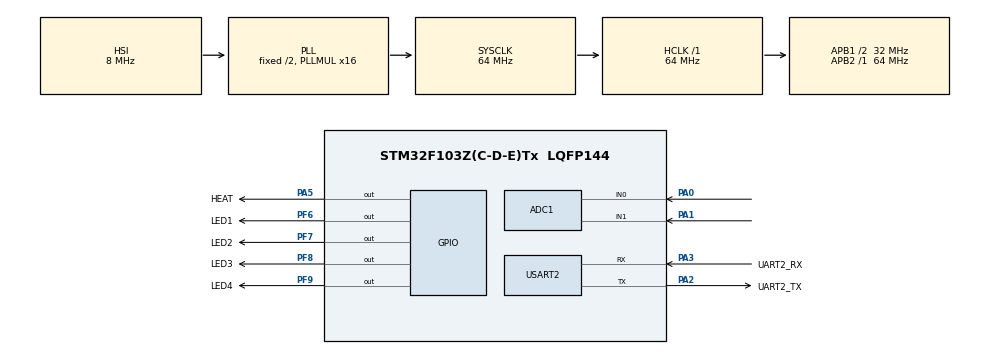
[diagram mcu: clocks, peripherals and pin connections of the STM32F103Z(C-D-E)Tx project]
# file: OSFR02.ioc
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ADC1.Channel-11\#ChannelRegularConversion=ADC_CHANNEL_0
ADC1.Channel-12\#ChannelRegularConversion=ADC_CHANNEL_1
ADC1.Channel-13\#ChannelRegularConversion=ADC_CHANNEL_TEMPSENSOR
ADC1.Channel-14\#ChannelRegularConversion=ADC_CHANNEL_VREFINT
ADC1.NbrOfConversion=4
ADC1.NbrOfConversionFlag=1
ADC1.Rank-11\#ChannelRegularConversion=1
ADC1.Rank-12\#ChannelRegularConversion=2
ADC1.Rank-13\#ChannelRegularConversion=3
ADC1.Rank-14\#ChannelRegularConversion=4
ADC1.SamplingTime-11\#ChannelRegularConversion=ADC_SAMPLETIME_28CYCLES_5
ADC1.SamplingTime-12\#ChannelRegularConversion=ADC_SAMPLETIME_28CYCLES_5
ADC1.SamplingTime-13\#ChannelRegularConversion=ADC_SAMPLETIME_41CYCLES_5
ADC1.SamplingTime-14\#ChannelRegularConversion=ADC_SAMPLETIME_41CYCLES_5
ADC1.master=1
Dma.ADC1.0.Direction=DMA_PERIPH_TO_MEMORY
Dma.ADC1.0.Instance=DMA1_Channel1
Dma.ADC1.0.MemDataAlignment=DMA_MDATAALIGN_HALFWORD
Dma.ADC1.0.MemInc=DMA_MINC_ENABLE
Dma.ADC1.0.Mode=DMA_CIRCULAR
Dma.ADC1.0.PeriphDataAlignment=DMA_PDATAALIGN_HALFWORD
Dma.ADC1.0.PeriphInc=DMA_PINC_DISABLE
Dma.ADC1.0.Priority=DMA_PRIORITY_LOW
Dma.Request0=ADC1
FREERTOS.Tasks01=led1Task,0,128,vLed1Task,As weak,NULL,Dynamic,NULL,NULL;led2Task,0,128,vLed2Task,Default,NULL,Dynamic,NULL,NULL;led3Task,0,128,vLed3Task,Default,NULL,Dynamic,NULL,NULL;led4Task,0,128,vLed4Task,Default,NULL,Dynamic,NULL,NULL;printfTask,0,128,vPrintfTask,Default,NULL,Dynamic,NULL,NULL;sensor1Task,1,128,vSensor1Task,Default,NULL,Dynamic,NULL,NULL
FREERTOS.configTOTAL_HEAP_SIZE=10240
FREERTOS.configUSE_TRACE_FACILITY=1
Mcu.Family=STM32F1
Mcu.Name=STM32F103Z(C-D-E)Tx
Mcu.Package=LQFP144
NVIC.DMA1_Channel1_IRQn=true\:5\:0\:false\:false\:true\:true
NVIC.PriorityGroup=NVIC_PRIORITYGROUP_4
NVIC.TIM6_IRQn=true\:0\:0\:false\:false\:true\:false
NVIC.TimeBase=TIM6_IRQn
NVIC.TimeBaseIP=TIM6
PA0-WKUP.Signal=ADCx_IN0
PA1.Signal=ADCx_IN1
PA13.Mode=Trace_Asynchronous_SW
PA13.Signal=SYS_JTMS-SWDIO
PA14.Mode=Trace_Asynchronous_SW
PA14.Signal=SYS_JTCK-SWCLK
PA2.GPIO_Label=UART2_TX
PA2.Mode=Asynchronous
PA2.Signal=USART2_TX
PA3.GPIO_Label=UART2_RX
PA3.Mode=Asynchronous
PA3.Signal=USART2_RX
PA5.GPIO_Label=HEAT
PA5.Signal=GPIO_Output
PB3.Mode=Trace_Asynchronous_SW
PB3.Signal=SYS_JTDO-TRACESWO
PF6.GPIO_Label=LED1
PF6.Signal=GPIO_Output
PF7.GPIO_Label=LED2
PF7.Signal=GPIO_Output
PF8.GPIO_Label=LED3
PF8.Signal=GPIO_Output
PF9.GPIO_Label=LED4
PF9.Signal=GPIO_Output
ProjectManager.HeapSize=0x200
ProjectManager.StackSize=0x400
ProjectManager.TargetToolchain=MDK-ARM V5
RCC.ADCPresc=RCC_ADCPCLK2_DIV6
RCC.AHBFreq_Value=64000000
RCC.APB1CLKDivider=RCC_HCLK_DIV2
RCC.APB1Freq_Value=32000000
RCC.APB1TimFreq_Value=64000000
RCC.APB2Freq_Value=64000000
RCC.APB2TimFreq_Value=64000000
RCC.HCLKFreq_Value=64000000
RCC.PLLMUL=RCC_PLL_MUL16
RCC.SYSCLKFreq_VALUE=64000000
RCC.SYSCLKSource=RCC_SYSCLKSOURCE_PLLCLK
RCC.USBFreq_Value=64000000
SH.ADCx_IN0.0=ADC1_IN0,IN0
SH.ADCx_IN1.0=ADC1_IN1,IN1
USART2.VirtualMode=VM_ASYNC
VP_ADC1_TempSens_Input.Mode=IN-TempSens
VP_ADC1_Vref_Input.Mode=IN-Vrefint
VP_FREERTOS_VS_ENABLE.Mode=Enabled
VP_SYS_VS_tim6.Mode=TIM6
board=OSFR02

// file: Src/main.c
/**
  ******************************************************************************
  * File Name          : main.c
  * Description        : Main program body
  ******************************************************************************
  * This notice applies to any and all portions of this file
  * that are not between comment pairs USER CODE BEGIN and
  * USER CODE END. Other portions of this file, whether
  * inserted by the user or by software development tools
  * are owned by their respective copyright owners.
  *
  * Copyright (c) 2017 STMicroelectronics International N.V.
  * All rights reserved.
  *
  * Redistribution and use in source and binary forms, with or without
  * modification, are permitted, provided that the following conditions are met:
  *
  * 1. Redistribution of source code must retain the above copyright notice,
  *    this list of conditions and the following disclaimer.
  * 2. Redistributions in binary form must reproduce the above copyright notice,
  *    this list of conditions and the following disclaimer in the documentation
  *    and/or other materials provided with the distribution.
  * 3. Neither the name of STMicroelectronics nor the names of other
  *    contributors to this software may be used to endorse or promote products
  *    derived from this software without specific written permission.
  * 4. This software, including modifications and/or derivative works of this
  *    software, must execute solely and exclusively on microcontroller or
  *    microprocessor devices manufactured by or for STMicroelectronics.
  * 5. Redistribution and use of this software other than as permitted under
  *    this license is void and will automatically terminate your rights under
  *    this license.
  *
  * THIS SOFTWARE IS PROVIDED BY STMICROELECTRONICS AND CONTRIBUTORS "AS IS"
  * AND ANY EXPRESS, IMPLIED OR STATUTORY WARRANTIES, INCLUDING, BUT NOT
  * LIMITED TO, THE IMPLIED WARRANTIES OF MERCHANTABILITY, FITNESS FOR A
  * PARTICULAR PURPOSE AND NON-INFRINGEMENT OF THIRD PARTY INTELLECTUAL PROPERTY
  * RIGHTS ARE DISCLAIMED TO THE FULLEST EXTENT PERMITTED BY LAW. IN NO EVENT
  * SHALL STMICROELECTRONICS OR CONTRIBUTORS BE LIABLE FOR ANY DIRECT, INDIRECT,
  * INCIDENTAL, SPECIAL, EXEMPLARY, OR CONSEQUENTIAL DAMAGES (INCLUDING, BUT NOT
  * LIMITED TO, PROCUREMENT OF SUBSTITUTE GOODS OR SERVICES; LOSS OF USE, DATA,
  * OR PROFITS; OR BUSINESS INTERRUPTION) HOWEVER CAUSED AND ON ANY THEORY OF
  * LIABILITY, WHETHER IN CONTRACT, STRICT LIABILITY, OR TORT (INCLUDING
  * NEGLIGENCE OR OTHERWISE) ARISING IN ANY WAY OUT OF THE USE OF THIS SOFTWARE,
  * EVEN IF ADVISED OF THE POSSIBILITY OF SUCH DAMAGE.
  *
  ******************************************************************************
  */
#include "main.h"
#include "stm32f1xx_hal.h"
#include "cmsis_os.h"
#include "adc.h"
#include "dma.h"
#include "usart.h"
#include "gpio.h"

/* USER CODE BEGIN PV */
/* Private variables ---------------------------------------------------------*/

/* USER CODE END PV */

void SystemClock_Config(void);
void MX_FREERTOS_Init(void);

/* USER CODE BEGIN PFP */
/* Private function prototypes -----------------------------------------------*/

/* USER CODE END PFP */

/* USER CODE BEGIN 0 */
  char character[10];
/* USER CODE END 0 */

int main(void)
{

  /* MCU Configuration----------------------------------------------------------*/

  /* Reset of all peripherals, Initializes the Flash interface and the Systick. */
  HAL_Init();

  /* Configure the system clock */
  SystemClock_Config();

  /* Initialize all configured peripherals */
  MX_GPIO_Init();
  MX_DMA_Init();
  MX_USART2_UART_Init();
  MX_ADC1_Init();

  /* USER CODE BEGIN 2 */
//  setvbuf(stdin, NULL, _IONBF, 0);
//  char c =getchar();
 // printf("I get:%c",c );
 // printf("Hello world!\n");
  /* Init only, trace starts later...*/
 // vTraceEnable(TRC_INIT);
  vTraceEnable(TRC_START_AWAIT_HOST);

  /* In a task or ISR */
 // vTraceEnable(TRC_START);

//void vTraceStop(void)

  /* USER CODE END 2 */

  /* Call init function for freertos objects (in freertos.c) */
  MX_FREERTOS_Init();

  /* Start scheduler */
  osKernelStart();

  /* We should never get here as control is now taken by the scheduler */

  /* Infinite loop */
  while (1)
  {

  }

}

/** System Clock Configuration
*/
void SystemClock_Config(void)
{

  RCC_OscInitTypeDef RCC_OscInitStruct;
  RCC_ClkInitTypeDef RCC_ClkInitStruct;
  RCC_PeriphCLKInitTypeDef PeriphClkInit;

    /**Initializes the CPU, AHB and APB busses clocks
    */
  RCC_OscInitStruct.OscillatorType = RCC_OSCILLATORTYPE_HSI;
  RCC_OscInitStruct.HSIState = RCC_HSI_ON;
  RCC_OscInitStruct.HSICalibrationValue = 16;
  RCC_OscInitStruct.PLL.PLLState = RCC_PLL_ON;
  RCC_OscInitStruct.PLL.PLLSource = RCC_PLLSOURCE_HSI_DIV2;
  RCC_OscInitStruct.PLL.PLLMUL = RCC_PLL_MUL16;
  if (HAL_RCC_OscConfig(&RCC_OscInitStruct) != HAL_OK)
  {
    _Error_Handler(__FILE__, __LINE__);
  }

    /**Initializes the CPU, AHB and APB busses clocks
    */
  RCC_ClkInitStruct.ClockType = RCC_CLOCKTYPE_HCLK|RCC_CLOCKTYPE_SYSCLK
                              |RCC_CLOCKTYPE_PCLK1|RCC_CLOCKTYPE_PCLK2;
  RCC_ClkInitStruct.SYSCLKSource = RCC_SYSCLKSOURCE_PLLCLK;
  RCC_ClkInitStruct.AHBCLKDivider = RCC_SYSCLK_DIV1;
  RCC_ClkInitStruct.APB1CLKDivider = RCC_HCLK_DIV2;
  RCC_ClkInitStruct.APB2CLKDivider = RCC_HCLK_DIV1;

  if (HAL_RCC_ClockConfig(&RCC_ClkInitStruct, FLASH_LATENCY_2) != HAL_OK)
  {
    _Error_Handler(__FILE__, __LINE__);
  }

  PeriphClkInit.PeriphClockSelection = RCC_PERIPHCLK_ADC;
  PeriphClkInit.AdcClockSelection = RCC_ADCPCLK2_DIV6;
  if (HAL_RCCEx_PeriphCLKConfig(&PeriphClkInit) != HAL_OK)
  {
    _Error_Handler(__FILE__, __LINE__);
  }

    /**Configure the Systick interrupt time
    */
  HAL_SYSTICK_Config(HAL_RCC_GetHCLKFreq()/1000);

    /**Configure the Systick
    */
  HAL_SYSTICK_CLKSourceConfig(SYSTICK_CLKSOURCE_HCLK);

  /* SysTick_IRQn interrupt configuration */
  HAL_NVIC_SetPriority(SysTick_IRQn, 15, 0);
}

void HAL_TIM_PeriodElapsedCallback(TIM_HandleTypeDef *htim)
{
  if (htim->Instance == TIM6) {
    HAL_IncTick();
  }
}

void _Error_Handler(char * file, int line)
{
  while(1)
  {
  }
}

/************************ (C) COPYRIGHT STMicroelectronics *****END OF FILE****/

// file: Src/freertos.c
/**
  ******************************************************************************
  * File Name          : freertos.c
  * Description        : Code for freertos applications
  ******************************************************************************
  * This notice applies to any and all portions of this file
  * that are not between comment pairs USER CODE BEGIN and
  * USER CODE END. Other portions of this file, whether
  * inserted by the user or by software development tools
  * are owned by their respective copyright owners.
  *
  * Copyright (c) 2017 STMicroelectronics International N.V.
  * All rights reserved.
  *
  * Redistribution and use in source and binary forms, with or without
  * modification, are permitted, provided that the following conditions are met:
  *
  * 1. Redistribution of source code must retain the above copyright notice,
  *    this list of conditions and the following disclaimer.
  * 2. Redistributions in binary form must reproduce the above copyright notice,
  *    this list of conditions and the following disclaimer in the documentation
  *    and/or other materials provided with the distribution.
  * 3. Neither the name of STMicroelectronics nor the names of other
  *    contributors to this software may be used to endorse or promote products
  *    derived from this software without specific written permission.
  * 4. This software, including modifications and/or derivative works of this
  *    software, must execute solely and exclusively on microcontroller or
  *    microprocessor devices manufactured by or for STMicroelectronics.
  * 5. Redistribution and use of this software other than as permitted under
  *    this license is void and will automatically terminate your rights under
  *    this license.
  *
  * THIS SOFTWARE IS PROVIDED BY STMICROELECTRONICS AND CONTRIBUTORS "AS IS"
  * AND ANY EXPRESS, IMPLIED OR STATUTORY WARRANTIES, INCLUDING, BUT NOT
  * LIMITED TO, THE IMPLIED WARRANTIES OF MERCHANTABILITY, FITNESS FOR A
  * PARTICULAR PURPOSE AND NON-INFRINGEMENT OF THIRD PARTY INTELLECTUAL PROPERTY
  * RIGHTS ARE DISCLAIMED TO THE FULLEST EXTENT PERMITTED BY LAW. IN NO EVENT
  * SHALL STMICROELECTRONICS OR CONTRIBUTORS BE LIABLE FOR ANY DIRECT, INDIRECT,
  * INCIDENTAL, SPECIAL, EXEMPLARY, OR CONSEQUENTIAL DAMAGES (INCLUDING, BUT NOT
  * LIMITED TO, PROCUREMENT OF SUBSTITUTE GOODS OR SERVICES; LOSS OF USE, DATA,
  * OR PROFITS; OR BUSINESS INTERRUPTION) HOWEVER CAUSED AND ON ANY THEORY OF
  * LIABILITY, WHETHER IN CONTRACT, STRICT LIABILITY, OR TORT (INCLUDING
  * NEGLIGENCE OR OTHERWISE) ARISING IN ANY WAY OUT OF THE USE OF THIS SOFTWARE,
  * EVEN IF ADVISED OF THE POSSIBILITY OF SUCH DAMAGE.
  *
  ******************************************************************************
  */

#include "FreeRTOS.h"
#include "task.h"
#include "cmsis_os.h"

/* USER CODE BEGIN Includes */
#include "adc.h"
#include "solder.h"
#include "usart.h"
#include "stdio.h"
/* USER CODE END Includes */

osThreadId led1TaskHandle;
osThreadId led2TaskHandle;
osThreadId led3TaskHandle;
osThreadId led4TaskHandle;
osThreadId printfTaskHandle;
osThreadId sensor1TaskHandle;

/* USER CODE BEGIN Variables */
char  cPrint[1024];
volatile uint16_t uiADC[10];
char  cGetChar[1024];
/* USER CODE END Variables */

void vLed1Task(void const * argument);
void vLed2Task(void const * argument);
void vLed3Task(void const * argument);
void vLed4Task(void const * argument);
void vPrintfTask(void const * argument);
void vSensor1Task(void const * argument);

void MX_FREERTOS_Init(void); /* (MISRA C 2004 rule 8.1) */

/* USER CODE BEGIN FunctionPrototypes */
/* Private typedef -----------------------------------------------------------*/
/* Private define ------------------------------------------------------------*/
#define VDD_APPLI                      ((uint32_t) 3300)   /* Value of analog voltage supply Vdda (unit: mV) */
#define RANGE_12BITS                   ((uint32_t) 4095)   /* Max value with a full range of 12 bits */
#define USERBUTTON_CLICK_COUNT_MAX     ((uint32_t)    4)   /* Maximum value of variable "UserButtonClickCount" */

#define ADCCONVERTEDVALUES_BUFFER_SIZE ((uint32_t)    3)   /* Size of array containing ADC converted values: set to ADC sequencer number of ranks converted, to have a rank in each address */

/* Internal temperature sensor: constants data used for indicative values in  */
/* this example. Refer to device datasheet for min/typ/max values.            */
/* For more accurate values, device should be calibrated on offset and slope  */
/* for application temperature range.                                         */
#define INTERNAL_TEMPSENSOR_V25        ((int32_t)1430)         /* Internal temperature sensor, parameter V25 (unit: mV). Refer to device datasheet for min/typ/max values. */
#define INTERNAL_TEMPSENSOR_AVGSLOPE   ((int32_t)4300)         /* Internal temperature sensor, parameter Avg_Slope (unit: uV/DegCelsius). Refer to device datasheet for min/typ/max values. */                                                               /* This calibration parameter is intended to calculate the actual VDDA from Vrefint ADC measurement. */

/* Private macro -------------------------------------------------------------*/

/**
  * @brief  Computation of temperature (unit: degree Celsius) from the internal
  *         temperature sensor measurement by ADC.
  *         Computation is using temperature sensor standard parameters (refer
  *         to device datasheet).
  *         Computation formula:
  *         Temperature = (VTS - V25)/Avg_Slope + 25
  *         with VTS = temperature sensor voltage
  *              Avg_Slope = temperature sensor slope (unit: uV/DegCelsius)
  *              V25 = temperature sensor @25degC and Vdda 3.3V (unit: mV)
  *         Calculation validity conditioned to settings:
  *          - ADC resolution 12 bits (need to scale value if using a different
  *            resolution).
  *          - Power supply of analog voltage Vdda 3.3V (need to scale value
  *            if using a different analog voltage supply value).
  * @param TS_ADC_DATA: Temperature sensor digital value measured by ADC
  * @retval None
  */
#define COMPUTATION_TEMPERATURE_STD_PARAMS(TS_ADC_DATA)                        \
  ((((int32_t)(INTERNAL_TEMPSENSOR_V25 - (((TS_ADC_DATA) * VDD_APPLI) / RANGE_12BITS)   \
     ) * 1000                                                                  \
    ) / INTERNAL_TEMPSENSOR_AVGSLOPE                                           \
   ) + 25                                                                      \
  )

/**
  * @brief  Computation of voltage (unit: mV) from ADC measurement digital
  *         value on range 12 bits.
  *         Calculation validity conditioned to settings:
  *          - ADC resolution 12 bits (need to scale value if using a different
  *            resolution).
  *          - Power supply of analog voltage Vdda 3.3V (need to scale value
  *            if using a different analog voltage supply value).
  * @param ADC_DATA: Digital value measured by ADC
  * @retval None
  */
#define COMPUTATION_DIGITAL_12BITS_TO_VOLTAGE(ADC_DATA)                        \
  ( (ADC_DATA) * VDD_APPLI / RANGE_12BITS)
/* USER CODE END FunctionPrototypes */

/* Hook prototypes */

/* Init FreeRTOS */

void MX_FREERTOS_Init(void) {

  /* Create the thread(s) */
  /* definition and creation of led1Task */
  osThreadDef(led1Task, vLed1Task, osPriorityNormal, 0, 128);
  led1TaskHandle = osThreadCreate(osThread(led1Task), NULL);

  /* definition and creation of led2Task */
  osThreadDef(led2Task, vLed2Task, osPriorityNormal, 0, 128);
  led2TaskHandle = osThreadCreate(osThread(led2Task), NULL);

  /* definition and creation of led3Task */
  osThreadDef(led3Task, vLed3Task, osPriorityNormal, 0, 128);
  led3TaskHandle = osThreadCreate(osThread(led3Task), NULL);

  /* definition and creation of led4Task */
  osThreadDef(led4Task, vLed4Task, osPriorityNormal, 0, 128);
  led4TaskHandle = osThreadCreate(osThread(led4Task), NULL);

  /* definition and creation of printfTask */
  osThreadDef(printfTask, vPrintfTask, osPriorityNormal, 0, 128);
  printfTaskHandle = osThreadCreate(osThread(printfTask), NULL);

  /* definition and creation of sensor1Task */
  osThreadDef(sensor1Task, vSensor1Task, osPriorityAboveNormal, 0, 128);
  sensor1TaskHandle = osThreadCreate(osThread(sensor1Task), NULL);

}

/* vLed1Task function */
__weak void vLed1Task(void const * argument)
{

  /* USER CODE BEGIN vLed1Task */
  /* Infinite loop */
  for(;;)
  {
    int state;

    HAL_GPIO_TogglePin(LED1_GPIO_Port,LED1_Pin);
    state = HAL_UART_Receive(&huart2, (uint8_t *)cGetChar, 2, 0x50);//0XFFFFFFFF is waitting forever
    if( state!= HAL_OK)
    {
      //traceString UART_Error = xTraceRegisterString("UART_STATE");
      //vTracePrintF(UART_Error,"ERROR %d",state);
      traceString UART_STATE = xTraceRegisterString("UART_STATE");
      vTracePrintF(UART_STATE,"STATE:%d",state);
     // int ch;
    //  FILE *stream;
   //   stream = fmemopen (cGetChar, 1, "r");//strlen (buffer)
//while ((ch = fgetc (stream)) != EOF)

      //fclose (stream);
    }
    else
    {
      if ( 48< cGetChar[0]&&  cGetChar[0]<57 )

      printf ("Got number %d\n", cGetChar[0]);
      traceString U_sended = xTraceRegisterString("UART_STATE");
      vTracePrint(U_sended,"GOT");
    }
      //printf("I get the data:%c",cGetChar);
 //   HAL_UART_Transmit(&huart2,(uint8_t *)uiADC,3,0xfffff);
   // HAL_UART_Transmit(&huart2,(uint8_t *)uiADC,3,0xfffff);
    osDelay(10);
  }
  /* USER CODE END vLed1Task */
}

/* vLed2Task function */
void vLed2Task(void const * argument)
{
  /* USER CODE BEGIN vLed2Task */
  /* Infinite loop */
  for(;;)
  {
    HAL_GPIO_TogglePin(LED2_GPIO_Port,LED2_Pin);
    osDelay(100);
  }
  /* USER CODE END vLed2Task */
}

/* vLed3Task function */
void vLed3Task(void const * argument)
{
  /* USER CODE BEGIN vLed3Task */
  /* Infinite loop */
  for(;;)
  {
    HAL_GPIO_TogglePin(LED3_GPIO_Port,LED3_Pin);
    osDelay(100);
  }
  /* USER CODE END vLed3Task */
}

/* vLed4Task function */
void vLed4Task(void const * argument)
{
  /* USER CODE BEGIN vLed4Task */
  /* Infinite loop */
  for(;;)
  {
    HAL_GPIO_TogglePin(LED4_GPIO_Port,LED4_Pin);
    osDelay(100);
  }
  /* USER CODE END vLed4Task */
}

/* vPrintfTask function */
void vPrintfTask(void const * argument)
{
  /* USER CODE BEGIN vPrintfTask */
  /* Infinite loop */
  for(;;)
  {
    //temperature uiADC[2]

    //VOL  uiADC[3]
//    printf("Temperature now: %d \n",COMPUTATION_TEMPERATURE_STD_PARAMS(uiADC[2]));
//    printf("voltage now: %d \n",COMPUTATION_DIGITAL_12BITS_TO_VOLTAGE(uiADC[3]));
//    printf("Temperature now: %d \n",(uiADC[0]));
//    printf("voltage now: %d \n",(uiADC[3]));
    printf("realTemp: %d \n",realTemp);
//    char _ok[] = "OK";
//    HAL_StatusTypeDef state;
//    state = HAL_UART_Transmit_IT(&huart2,(uint8_t *)_ok, 1) ;
//    if (state  != HAL_OK)
//    {
//       traceString UART_Error = xTraceRegisterString("UART_STATE");
//       vTracePrintF(UART_Error,"ERROR %d",state);
//    }
    osDelay(500);

  }
  /* USER CODE END vPrintfTask */
}

/* vSensor1Task function */
void vSensor1Task(void const * argument)
{
  /* USER CODE BEGIN vSensor1Task */
  /* Infinite loop */
     /* Start ADC conversion on regular group with transfer by DMA */
if (HAL_ADC_Start_DMA(&hadc1,
                        (uint32_t *)uiADC,
                        4
                       ) != HAL_OK)
  {
    /* Start Error */
    Error_Handler();
  }
  /* Infinite loop */
  for(;;)
  {
    HAL_ADC_Start(&hadc1);
    HAL_ADC_PollForConversion(&hadc1,0xff);
    vTempCtrl(uiADC[0]);
//    uiADC = HAL_ADC_GetValue(&hadc1);
    osDelay(1);
  /* USER CODE END vSensor1Task */
}

}

/************************ (C) COPYRIGHT STMicroelectronics *****END OF FILE****/
